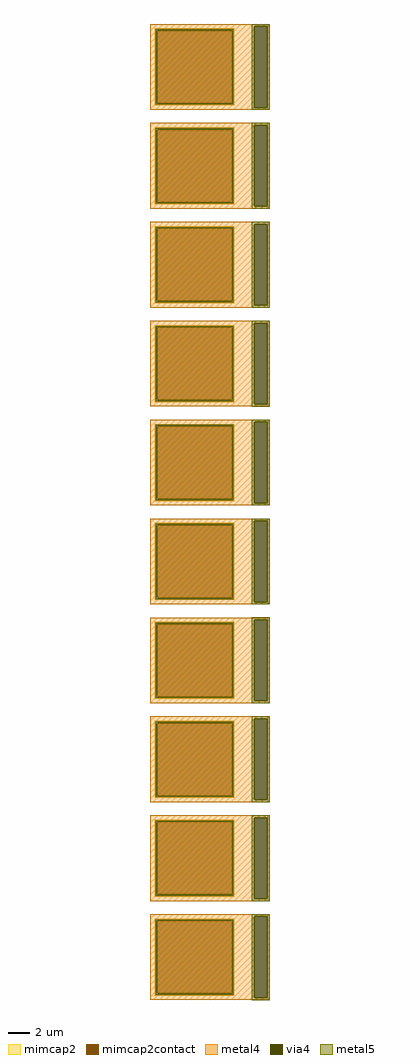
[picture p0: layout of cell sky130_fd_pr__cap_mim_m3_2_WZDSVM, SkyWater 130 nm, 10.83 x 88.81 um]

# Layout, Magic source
magic
tech sky130A
magscale 1 2
<< metal4 >>
rect -1072 8839 1072 8880
rect -1072 7361 816 8839
rect 1052 7361 1072 8839
rect -1072 7320 1072 7361
rect -1072 7039 1072 7080
rect -1072 5561 816 7039
rect 1052 5561 1072 7039
rect -1072 5520 1072 5561
rect -1072 5239 1072 5280
rect -1072 3761 816 5239
rect 1052 3761 1072 5239
rect -1072 3720 1072 3761
rect -1072 3439 1072 3480
rect -1072 1961 816 3439
rect 1052 1961 1072 3439
rect -1072 1920 1072 1961
rect -1072 1639 1072 1680
rect -1072 161 816 1639
rect 1052 161 1072 1639
rect -1072 120 1072 161
rect -1072 -161 1072 -120
rect -1072 -1639 816 -161
rect 1052 -1639 1072 -161
rect -1072 -1680 1072 -1639
rect -1072 -1961 1072 -1920
rect -1072 -3439 816 -1961
rect 1052 -3439 1072 -1961
rect -1072 -3480 1072 -3439
rect -1072 -3761 1072 -3720
rect -1072 -5239 816 -3761
rect 1052 -5239 1072 -3761
rect -1072 -5280 1072 -5239
rect -1072 -5561 1072 -5520
rect -1072 -7039 816 -5561
rect 1052 -7039 1072 -5561
rect -1072 -7080 1072 -7039
rect -1072 -7361 1072 -7320
rect -1072 -8839 816 -7361
rect 1052 -8839 1072 -7361
rect -1072 -8880 1072 -8839
<< via4 >>
rect 816 7361 1052 8839
rect 816 5561 1052 7039
rect 816 3761 1052 5239
rect 816 1961 1052 3439
rect 816 161 1052 1639
rect 816 -1639 1052 -161
rect 816 -3439 1052 -1961
rect 816 -5239 1052 -3761
rect 816 -7039 1052 -5561
rect 816 -8839 1052 -7361
<< mimcap2 >>
rect -992 8760 454 8800
rect -992 7440 -952 8760
rect 414 7440 454 8760
rect -992 7400 454 7440
rect -992 6960 454 7000
rect -992 5640 -952 6960
rect 414 5640 454 6960
rect -992 5600 454 5640
rect -992 5160 454 5200
rect -992 3840 -952 5160
rect 414 3840 454 5160
rect -992 3800 454 3840
rect -992 3360 454 3400
rect -992 2040 -952 3360
rect 414 2040 454 3360
rect -992 2000 454 2040
rect -992 1560 454 1600
rect -992 240 -952 1560
rect 414 240 454 1560
rect -992 200 454 240
rect -992 -240 454 -200
rect -992 -1560 -952 -240
rect 414 -1560 454 -240
rect -992 -1600 454 -1560
rect -992 -2040 454 -2000
rect -992 -3360 -952 -2040
rect 414 -3360 454 -2040
rect -992 -3400 454 -3360
rect -992 -3840 454 -3800
rect -992 -5160 -952 -3840
rect 414 -5160 454 -3840
rect -992 -5200 454 -5160
rect -992 -5640 454 -5600
rect -992 -6960 -952 -5640
rect 414 -6960 454 -5640
rect -992 -7000 454 -6960
rect -992 -7440 454 -7400
rect -992 -8760 -952 -7440
rect 414 -8760 454 -7440
rect -992 -8800 454 -8760
<< mimcap2contact >>
rect -952 7440 414 8760
rect -952 5640 414 6960
rect -952 3840 414 5160
rect -952 2040 414 3360
rect -952 240 414 1560
rect -952 -1560 414 -240
rect -952 -3360 414 -2040
rect -952 -5160 414 -3840
rect -952 -6960 414 -5640
rect -952 -8760 414 -7440
<< metal5 >>
rect 774 8839 1094 8881
rect -976 8760 438 8784
rect -976 7440 -952 8760
rect 414 7440 438 8760
rect -976 7416 438 7440
rect 774 7361 816 8839
rect 1052 7361 1094 8839
rect 774 7319 1094 7361
rect 774 7039 1094 7081
rect -976 6960 438 6984
rect -976 5640 -952 6960
rect 414 5640 438 6960
rect -976 5616 438 5640
rect 774 5561 816 7039
rect 1052 5561 1094 7039
rect 774 5519 1094 5561
rect 774 5239 1094 5281
rect -976 5160 438 5184
rect -976 3840 -952 5160
rect 414 3840 438 5160
rect -976 3816 438 3840
rect 774 3761 816 5239
rect 1052 3761 1094 5239
rect 774 3719 1094 3761
rect 774 3439 1094 3481
rect -976 3360 438 3384
rect -976 2040 -952 3360
rect 414 2040 438 3360
rect -976 2016 438 2040
rect 774 1961 816 3439
rect 1052 1961 1094 3439
rect 774 1919 1094 1961
rect 774 1639 1094 1681
rect -976 1560 438 1584
rect -976 240 -952 1560
rect 414 240 438 1560
rect -976 216 438 240
rect 774 161 816 1639
rect 1052 161 1094 1639
rect 774 119 1094 161
rect 774 -161 1094 -119
rect -976 -240 438 -216
rect -976 -1560 -952 -240
rect 414 -1560 438 -240
rect -976 -1584 438 -1560
rect 774 -1639 816 -161
rect 1052 -1639 1094 -161
rect 774 -1681 1094 -1639
rect 774 -1961 1094 -1919
rect -976 -2040 438 -2016
rect -976 -3360 -952 -2040
rect 414 -3360 438 -2040
rect -976 -3384 438 -3360
rect 774 -3439 816 -1961
rect 1052 -3439 1094 -1961
rect 774 -3481 1094 -3439
rect 774 -3761 1094 -3719
rect -976 -3840 438 -3816
rect -976 -5160 -952 -3840
rect 414 -5160 438 -3840
rect -976 -5184 438 -5160
rect 774 -5239 816 -3761
rect 1052 -5239 1094 -3761
rect 774 -5281 1094 -5239
rect 774 -5561 1094 -5519
rect -976 -5640 438 -5616
rect -976 -6960 -952 -5640
rect 414 -6960 438 -5640
rect -976 -6984 438 -6960
rect 774 -7039 816 -5561
rect 1052 -7039 1094 -5561
rect 774 -7081 1094 -7039
rect 774 -7361 1094 -7319
rect -976 -7440 438 -7416
rect -976 -8760 -952 -7440
rect 414 -8760 438 -7440
rect -976 -8784 438 -8760
rect 774 -8839 816 -7361
rect 1052 -8839 1094 -7361
rect 774 -8881 1094 -8839
<< properties >>
string FIXED_BBOX -1072 7320 534 8880
string gencell sky130_fd_pr__cap_mim_m3_2
string library sky130
string parameters w 7.225 l 7.0 val 106.555 carea 2.00 cperi 0.19 nx 1 ny 10 dummy 0 square 0 lmin 2.00 wmin 2.00 lmax 30.0 wmax 30.0 dc 0 bconnect 0 tconnect 0 ccov 100
<< end >>
